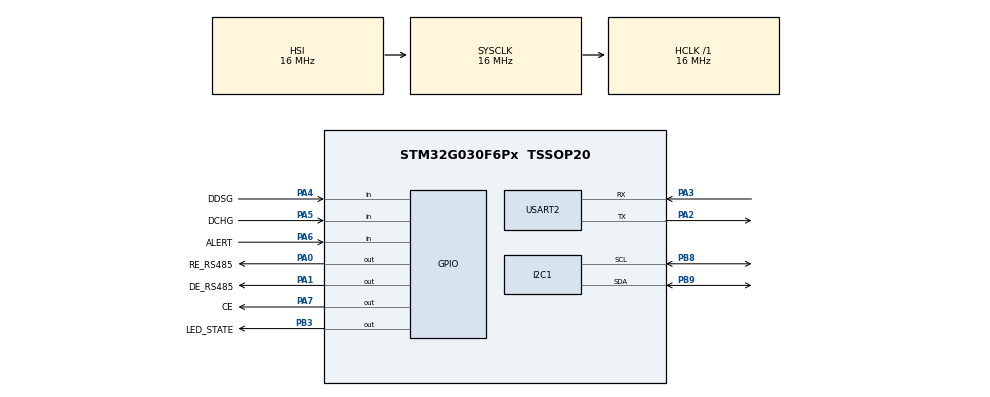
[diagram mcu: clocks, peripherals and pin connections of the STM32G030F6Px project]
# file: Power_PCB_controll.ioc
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I2C1.Timing=0x00503D58
Mcu.Family=STM32G0
Mcu.Name=STM32G030F6Px
Mcu.Package=TSSOP20
NVIC.TIM3_IRQn=true\:0\:0\:false\:false\:true\:true\:true\:true
NVIC.USART2_IRQn=true\:0\:0\:false\:false\:true\:true\:true\:true
PA0.GPIO_Label=RE_RS485
PA0.Signal=GPIO_Output
PA1.GPIO_Label=DE_RS485
PA1.Signal=GPIO_Output
PA14-BOOT0__PA15.StandardMode=true
PA2.Mode=Asynchronous
PA2.Signal=USART2_TX
PA3.Mode=Asynchronous
PA3.Signal=USART2_RX
PA4.GPIO_Label=DDSG
PA4.Signal=GPIO_Input
PA5.GPIO_Label=DCHG
PA5.Signal=GPIO_Input
PA6.GPIO_Label=ALERT
PA6.Signal=GPIO_Input
PA7.GPIO_Label=CE
PA7.Signal=GPIO_Output
PB0__PB1__PB2__PA8.StandardMode=true
PB3.GPIO_Label=LED_STATE
PB3.Signal=GPIO_Output
PB3__PB4__PB5__PB6.StandardMode=true
PB7__PB8.StandardMode=true
PB8.Mode=I2C
PB8.Signal=I2C1_SCL
PB9.Mode=I2C
PB9.Signal=I2C1_SDA
PC14-OSC32_IN\ (PC14)__PB9.StandardMode=true
ProjectManager.HeapSize=0x200
ProjectManager.StackSize=0x400
ProjectManager.TargetToolchain=CMake
RCC.AHBFreq_Value=16000000
RCC.CortexFreq_Value=16000000
RCC.EXTERNAL_CLOCK_VALUE=12288000
RCC.HCLKFreq_Value=16000000
RCC.HSE_VALUE=8000000
RCC.HSI_VALUE=16000000
RCC.LSE_VALUE=32768
RCC.SYSCLKFreq_VALUE=16000000
RCC.VCOOutputFreq_Value=128000000
TIM3.AutoReloadPreload=TIM_AUTORELOAD_PRELOAD_ENABLE
TIM3.Period=303
TIM3.Prescaler=15
TIM3.TIM_MasterOutputTrigger=TIM_TRGO_UPDATE
USART2.VirtualMode-Asynchronous=VM_ASYNC
VP_TIM3_VS_ClockSourceINT.Mode=Internal
board=custom

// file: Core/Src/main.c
/* USER CODE BEGIN Header */
/**
  ******************************************************************************
  * @file           : main.c
  * @brief          : Main program body
  ******************************************************************************
  * @attention
  *
  * Copyright (c) 2025 STMicroelectronics.
  * All rights reserved.
  *
  * This software is licensed under terms that can be found in the LICENSE file
  * in the root directory of this software component.
  * If no LICENSE file comes with this software, it is provided AS-IS.
  *
  ******************************************************************************
  */
/* USER CODE END Header */
#include "main.h"

/* USER CODE BEGIN Includes */
#include "control.h"
#include "init.h"
#include "rs485dock.h"
#include "stm32g0xx_hal.h"
#include "bq25798Charger.h"
/* USER CODE END Includes */

I2C_HandleTypeDef hi2c1;

TIM_HandleTypeDef htim3;

UART_HandleTypeDef huart2;

void SystemClock_Config(void);
static void MX_GPIO_Init(void);
static void MX_I2C1_Init(void);
static void MX_USART2_UART_Init(void);
static void MX_TIM3_Init(void);

int main(void)
{

  /* MCU Configuration--------------------------------------------------------*/

  /* Reset of all peripherals, Initializes the Flash interface and the Systick. */
  HAL_Init();

  /* Configure the system clock */
  SystemClock_Config();

  /* Initialize all configured peripherals */
  MX_GPIO_Init();
  MX_I2C1_Init();
  MX_USART2_UART_Init();
  MX_TIM3_Init();
  /* USER CODE BEGIN 2 */
  CLEAR_BIT(huart2.Instance->CR1, USART_CR1_TE);
  HAL_GPIO_WritePin(LED_STATE_GPIO_Port, LED_STATE_Pin, GPIO_PIN_SET);
  if(fullInitialization() != HAL_OK)
  {
    HAL_GPIO_WritePin(LED_STATE_GPIO_Port, LED_STATE_Pin, GPIO_PIN_RESET);
  }

  RS485_Init(&huart2, &htim3);

  /* USER CODE END 2 */

  /* Infinite loop */
  /* USER CODE BEGIN WHILE */

  uint32_t last_watchdog = 0;

  while (1)
  {
    uint32_t current_time = HAL_GetTick();
    RS485_Process();

    if (current_time - last_watchdog >= 50000) {
      WatchDogs_R();
      RS485_UpdateRegisters();
      GenSysInfo();
      if (BQ25798_HealthCheck() != HAL_OK){
        HAL_GPIO_WritePin(LED_STATE_GPIO_Port, LED_STATE_Pin, GPIO_PIN_RESET);
      }
      if (BQ76952_HealthCheck(&hi2c1) != HAL_OK){
        HAL_GPIO_WritePin(LED_STATE_GPIO_Port, LED_STATE_Pin, GPIO_PIN_RESET);
      }
      RS485_UpdateFlags();

      last_watchdog = current_time;
    }

    /* USER CODE END WHILE */

  }
}

void SystemClock_Config(void)
{
  RCC_OscInitTypeDef RCC_OscInitStruct = {0};
  RCC_ClkInitTypeDef RCC_ClkInitStruct = {0};

  /** Configure the main internal regulator output voltage
  */
  HAL_PWREx_ControlVoltageScaling(PWR_REGULATOR_VOLTAGE_SCALE1);

  /** Initializes the RCC Oscillators according to the specified parameters
  * in the RCC_OscInitTypeDef structure.
  */
  RCC_OscInitStruct.OscillatorType = RCC_OSCILLATORTYPE_HSI;
  RCC_OscInitStruct.HSIState = RCC_HSI_ON;
  RCC_OscInitStruct.HSIDiv = RCC_HSI_DIV1;
  RCC_OscInitStruct.HSICalibrationValue = RCC_HSICALIBRATION_DEFAULT;
  RCC_OscInitStruct.PLL.PLLState = RCC_PLL_NONE;
  if (HAL_RCC_OscConfig(&RCC_OscInitStruct) != HAL_OK)
  {
    Error_Handler();
  }

  /** Initializes the CPU, AHB and APB buses clocks
  */
  RCC_ClkInitStruct.ClockType = RCC_CLOCKTYPE_HCLK|RCC_CLOCKTYPE_SYSCLK
                              |RCC_CLOCKTYPE_PCLK1;
  RCC_ClkInitStruct.SYSCLKSource = RCC_SYSCLKSOURCE_HSI;
  RCC_ClkInitStruct.AHBCLKDivider = RCC_SYSCLK_DIV1;
  RCC_ClkInitStruct.APB1CLKDivider = RCC_HCLK_DIV1;

  if (HAL_RCC_ClockConfig(&RCC_ClkInitStruct, FLASH_LATENCY_0) != HAL_OK)
  {
    Error_Handler();
  }
}

static void MX_I2C1_Init(void)
{

  hi2c1.Instance = I2C1;
  hi2c1.Init.Timing = 0x00503D58;
  hi2c1.Init.OwnAddress1 = 0;
  hi2c1.Init.AddressingMode = I2C_ADDRESSINGMODE_7BIT;
  hi2c1.Init.DualAddressMode = I2C_DUALADDRESS_DISABLE;
  hi2c1.Init.OwnAddress2 = 0;
  hi2c1.Init.OwnAddress2Masks = I2C_OA2_NOMASK;
  hi2c1.Init.GeneralCallMode = I2C_GENERALCALL_DISABLE;
  hi2c1.Init.NoStretchMode = I2C_NOSTRETCH_DISABLE;
  if (HAL_I2C_Init(&hi2c1) != HAL_OK)
  {
    Error_Handler();
  }

  /** Configure Analogue filter
  */
  if (HAL_I2CEx_ConfigAnalogFilter(&hi2c1, I2C_ANALOGFILTER_ENABLE) != HAL_OK)
  {
    Error_Handler();
  }

  /** Configure Digital filter
  */
  if (HAL_I2CEx_ConfigDigitalFilter(&hi2c1, 0) != HAL_OK)
  {
    Error_Handler();
  }

}

static void MX_TIM3_Init(void)
{

  TIM_ClockConfigTypeDef sClockSourceConfig = {0};
  TIM_MasterConfigTypeDef sMasterConfig = {0};

  htim3.Instance = TIM3;
  htim3.Init.Prescaler = 15;
  htim3.Init.CounterMode = TIM_COUNTERMODE_UP;
  htim3.Init.Period = 303;
  htim3.Init.ClockDivision = TIM_CLOCKDIVISION_DIV1;
  htim3.Init.AutoReloadPreload = TIM_AUTORELOAD_PRELOAD_ENABLE;
  if (HAL_TIM_Base_Init(&htim3) != HAL_OK)
  {
    Error_Handler();
  }
  sClockSourceConfig.ClockSource = TIM_CLOCKSOURCE_INTERNAL;
  if (HAL_TIM_ConfigClockSource(&htim3, &sClockSourceConfig) != HAL_OK)
  {
    Error_Handler();
  }
  sMasterConfig.MasterOutputTrigger = TIM_TRGO_UPDATE;
  sMasterConfig.MasterSlaveMode = TIM_MASTERSLAVEMODE_DISABLE;
  if (HAL_TIMEx_MasterConfigSynchronization(&htim3, &sMasterConfig) != HAL_OK)
  {
    Error_Handler();
  }

}

static void MX_USART2_UART_Init(void)
{

  huart2.Instance = USART2;
  huart2.Init.BaudRate = 115200;
  huart2.Init.WordLength = UART_WORDLENGTH_8B;
  huart2.Init.StopBits = UART_STOPBITS_1;
  huart2.Init.Parity = UART_PARITY_NONE;
  huart2.Init.Mode = UART_MODE_TX_RX;
  huart2.Init.HwFlowCtl = UART_HWCONTROL_NONE;
  huart2.Init.OverSampling = UART_OVERSAMPLING_16;
  huart2.Init.OneBitSampling = UART_ONE_BIT_SAMPLE_DISABLE;
  huart2.Init.ClockPrescaler = UART_PRESCALER_DIV1;
  huart2.AdvancedInit.AdvFeatureInit = UART_ADVFEATURE_NO_INIT;
  if (HAL_UART_Init(&huart2) != HAL_OK)
  {
    Error_Handler();
  }

}

static void MX_GPIO_Init(void)
{
  GPIO_InitTypeDef GPIO_InitStruct = {0};

  /* GPIO Ports Clock Enable */
  __HAL_RCC_GPIOB_CLK_ENABLE();
  __HAL_RCC_GPIOA_CLK_ENABLE();

  /*Configure GPIO pin Output Level */
  HAL_GPIO_WritePin(GPIOA, DE_RS485_Pin|RE_RS485_Pin|CE_Pin, GPIO_PIN_RESET);

  /*Configure GPIO pin Output Level */
  HAL_GPIO_WritePin(LED_STATE_GPIO_Port, LED_STATE_Pin, GPIO_PIN_RESET);

  /*Configure GPIO pins : DE_RS485_Pin RE_RS485_Pin CE_Pin */
  GPIO_InitStruct.Pin = DE_RS485_Pin|RE_RS485_Pin|CE_Pin;
  GPIO_InitStruct.Mode = GPIO_MODE_OUTPUT_PP;
  GPIO_InitStruct.Pull = GPIO_NOPULL;
  GPIO_InitStruct.Speed = GPIO_SPEED_FREQ_LOW;
  HAL_GPIO_Init(GPIOA, &GPIO_InitStruct);

  /*Configure GPIO pins : DDSG_Pin DCHG_Pin ALERT_Pin */
  GPIO_InitStruct.Pin = DDSG_Pin|DCHG_Pin|ALERT_Pin;
  GPIO_InitStruct.Mode = GPIO_MODE_INPUT;
  GPIO_InitStruct.Pull = GPIO_NOPULL;
  HAL_GPIO_Init(GPIOA, &GPIO_InitStruct);

  /*Configure GPIO pin : LED_STATE_Pin */
  GPIO_InitStruct.Pin = LED_STATE_Pin;
  GPIO_InitStruct.Mode = GPIO_MODE_OUTPUT_PP;
  GPIO_InitStruct.Pull = GPIO_NOPULL;
  GPIO_InitStruct.Speed = GPIO_SPEED_FREQ_LOW;
  HAL_GPIO_Init(LED_STATE_GPIO_Port, &GPIO_InitStruct);

}

void Error_Handler(void)
{
  __disable_irq();
  while (1)
  {
  }
}
